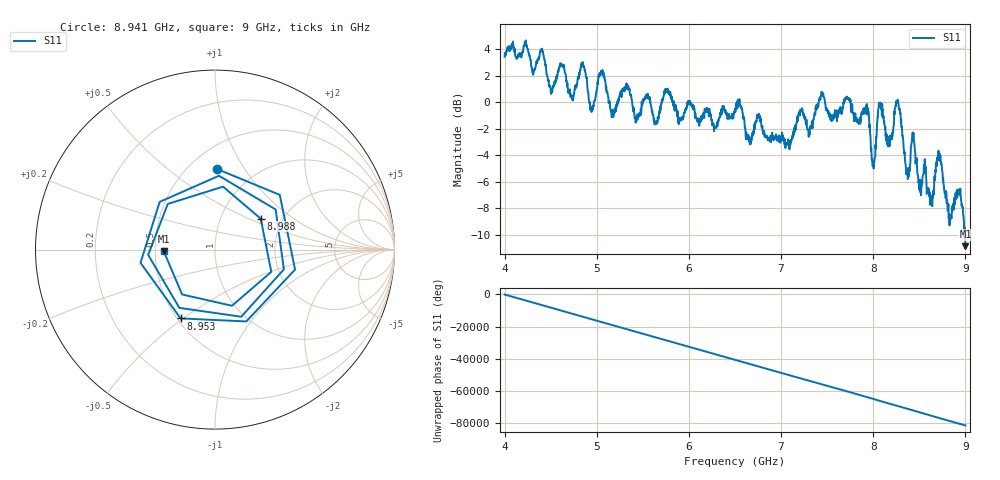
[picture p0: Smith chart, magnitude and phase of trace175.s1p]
! Created with skrf 1.8.0 (http://scikit-rf.org).
# Hz S RI R 50.0
!freq ReS11 ImS11
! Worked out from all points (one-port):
!   1601 points, 4 GHz to 9 GHz, reference 50 ohm
!   lowest |S11| = -10.9 dB at 9 GHz (marker M1), VSWR 1.80, Z = 27.7 - j0.434 ohm
!   |S11| at or under -10 dB: 8.987201 GHz to 8.988898 GHz (1.697 MHz wide, 0.0189 % of centre); 8.995865 GHz to end of sweep
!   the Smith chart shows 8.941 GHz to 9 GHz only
!   S11 on the Smith chart (normalised r, x): 8.941 GHz: 0.68, +0.76; 8.953 GHz: 0.52, -0.49; 8.988 GHz: 1.55, +0.59; 9 GHz: 0.55, -0.01
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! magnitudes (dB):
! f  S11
! 4 GHz  3.4
! 4.406 GHz  4.0
! 4.506 GHz  0.9
! 4.625 GHz  2.8
! 4.731 GHz  0.2
! 4.853 GHz  2.8
! 4.941 GHz  -0.7
! 5.05 GHz  2.2
! 5.169 GHz  -1.1
! 5.25 GHz  0.6
! 5.875 GHz  -0.9
! 6.5 GHz  -0.5
! 7.125 GHz  -2.5
! 7.75 GHz  0.0
! 7.931 GHz  -0.1
! 8 GHz  -4.5
! 8.072 GHz  -0.2
! 8.175 GHz  -3.3
! 8.266 GHz  0.2
! 8.375 GHz  -5.8
! 8.431 GHz  -2.9
! 8.625 GHz  -7.5
! 8.709 GHz  -3.7
! 8.831 GHz  -8.5
! 8.941 GHz  -6.9
! 8.953 GHz  -7.4
! 8.988 GHz  -10.2
! 9 GHz  -10.9
